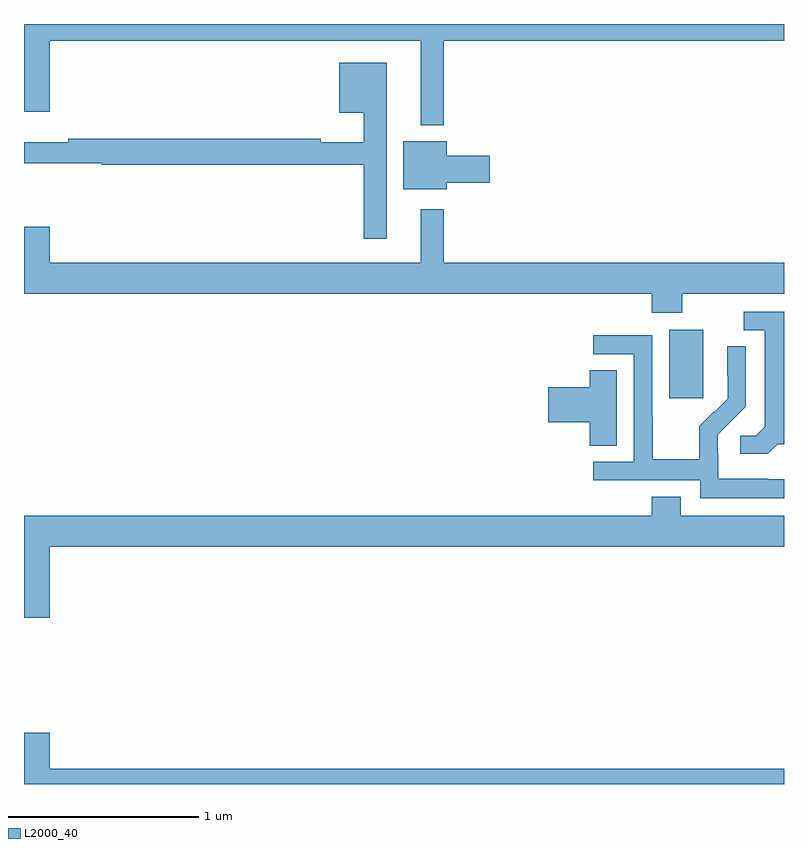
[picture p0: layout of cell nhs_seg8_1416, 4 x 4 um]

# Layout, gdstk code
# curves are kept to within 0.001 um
import gdstk
lib = gdstk.Library(unit=1e-6, precision=1e-09)
def R(c, l, rs):  # rectangles x0, y0, x1, y1
    for r in rs: c.add(gdstk.rectangle(r[:2], r[2:], *l))
def P(c, l, *ps):  # polygons
    for p in ps: c.add(gdstk.Polygon(p, *l))
L2000_40 = (2000, 40)

nhs_seg8_1416 = lib.new_cell('nhs_seg8_1416')
R(nhs_seg8_1416, L2000_40, [(204.395,1135.929,204.574,1136.29)])
P(nhs_seg8_1416, L2000_40, [(203.209,1137.812),(205,1137.812),(205,1137.9),(201,1137.9),(201,1137.438),(201.136,1137.438),(201.136,1137.812),(203.087,1137.812),(203.087,1137.368),(203.209,1137.368)],
  [(202.909,1137.697),(202.658,1137.697),(202.658,1137.434),(202.788,1137.434),(202.788,1137.277),(202.562,1137.277),(202.562,1137.296),(201.232,1137.296),(201.232,1137.277),(201,1137.277),(201,1137.168),(201.409,1137.168),(201.409,1137.16),(202.788,1137.16),(202.788,1136.769),(202.909,1136.769)],
  [(203.224,1137.064),(203.452,1137.064),(203.452,1137.206),(203.224,1137.206),(203.224,1137.283),(202.997,1137.283),(202.997,1137.029),(203.224,1137.029)],
  [(204.465,1136.48),(205,1136.48),(205,1136.644),(203.209,1136.644),(203.209,1136.926),(203.087,1136.926),(203.087,1136.644),(201.136,1136.644),(201.136,1136.833),(201,1136.833),(201,1136.48),(204.305,1136.48),(204.305,1136.381),(204.465,1136.381)],
  [(204.966,1135.689),(205,1135.689),(205,1136.385),(204.789,1136.385),(204.789,1136.289),(204.899,1136.289),(204.899,1135.781),(204.852,1135.734),(204.771,1135.734),(204.771,1135.637),(204.914,1135.637)],
  [(205,1135.503),(204.917,1135.503),(204.917,1135.507),(204.654,1135.507),(204.654,1135.641),(204.652,1135.641),(204.652,1135.738),(204.798,1135.886),(204.798,1136.204),(204.702,1136.204),(204.702,1136.05),(204.704,1136.05),(204.704,1135.928),(204.633,1135.857),(204.63,1135.86),(204.553,1135.783),(204.553,1135.609),(204.309,1135.609),(204.309,1135.832),(204.306,1135.832),(204.306,1136.262),(203.997,1136.262),(203.997,1136.163),(204.21,1136.163),(204.21,1135.596),(203.997,1135.596),(203.997,1135.5),(204.558,1135.5),(204.558,1135.403),(205,1135.403)],
  [(204.121,1136.078),(203.978,1136.078),(203.978,1135.988),(203.76,1135.988),(203.76,1135.805),(203.978,1135.805),(203.978,1135.681),(204.121,1135.681)],
  [(201.136,1135.148),(205,1135.148),(205,1135.312),(204.457,1135.312),(204.457,1135.411),(204.305,1135.411),(204.305,1135.312),(201,1135.312),(201,1134.774),(201.136,1134.774)],
  [(201,1134.169),(201,1133.9),(205,1133.9),(205,1133.98),(201.136,1133.98),(201.136,1134.169)])

lib.write_gds('nhs_seg8_1416.gds')
